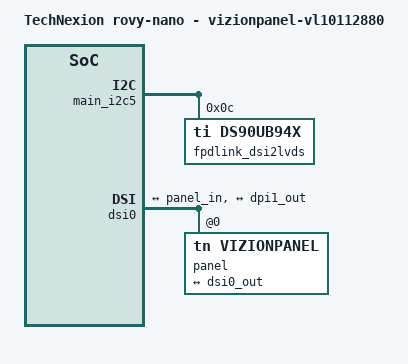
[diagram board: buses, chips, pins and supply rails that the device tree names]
// SPDX-License-Identifier: GPL-2.0
/**
 * DT Overlay for RPi 7inch touchscreen panel interfaced with DSI on
 * beagleboneai64 board.
 *
 * Copyright (C) 2021 Texas Instruments Incorporated - https://www.ti.com/
 */

/dts-v1/;
/plugin/;

#include <dt-bindings/gpio/gpio.h>
#include <dt-bindings/interrupt-controller/irq.h>
#include <dt-bindings/pinctrl/k3.h>

/ {
	fragment@101 {
		target-path = "/";

		__overlay__ {
			model = "TechNexion rovy-nano - vizionpanel-vl10112880";

		};
	};
};

&main_i2c5 {
	#address-cells = <1>;
	#size-cells = <0>;
	status = "okay";

	fpdlink_dsi2lvds: ds90ub948@0c {
		compatible = "ti,ds90ub94x";
		reg = <0x0c>;
		status = "okay";
	};
};

&dss_ports {
	#address-cells = <1>;
	#size-cells = <0>;

	port@2 {
		reg = <2>;

		dpi1_out: endpoint {
			remote-endpoint = <&dsi0_in>;
		};
	};
};

&dsi0 {
	ports {
		#address-cells = <1>;
		#size-cells = <0>;

		port@0 {
			reg = <0>;
			dsi0_out: endpoint {
				remote-endpoint = <&panel_in>;
			};
		};

		port@1 {
			reg = <1>;
			dsi0_in: endpoint {
				remote-endpoint = <&dpi1_out>;
			};
		};
	};

	panel@0 {
		compatible = "tn,vizionpanel";
		reg = <0>;
		status = "okay";

		port {
			panel_in: endpoint {
				remote-endpoint = <&dsi0_out>;
			};
		};
	};
};

&dphy2 {
	assigned-clocks = <&k3_clks 296 3>;
	assigned-clock-parents = <&k3_clks 296 4>;
	assigned-clock-rates = <19200000>;
};
